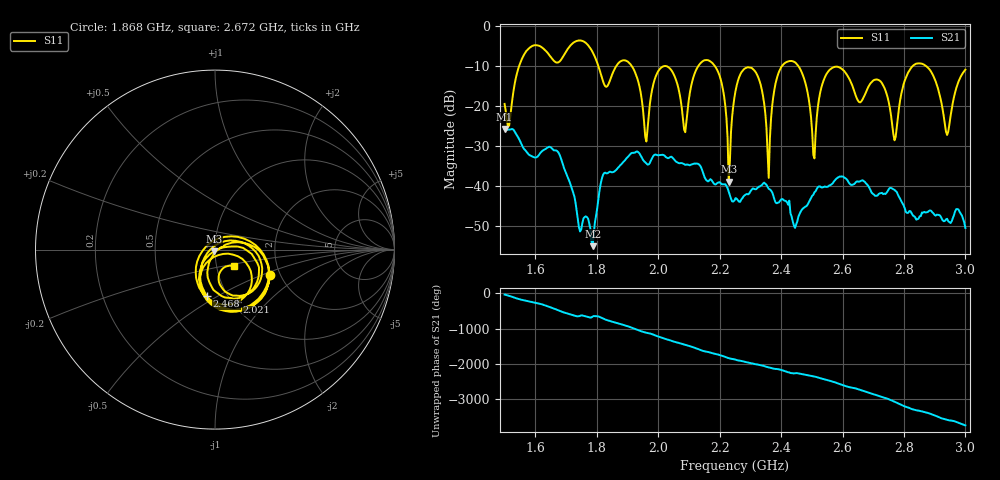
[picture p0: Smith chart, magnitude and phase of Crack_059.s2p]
# HZ S RI R 50
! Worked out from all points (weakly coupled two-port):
!   404 points, 1.5 GHz to 3 GHz, reference 50 ohm
!   highest |S21| = -25.72 dB at 1.5 GHz (marker M1); lowest = -55.0 dB at 1.787 GHz (marker M2)
!   lowest |S11| = -38.9 dB at 2.23 GHz (marker M3), VSWR 1.02, Z = 49.3 - j0.92 ohm
!   |S11| at or under -10 dB: 2.185 GHz to 2.403 GHz (217.9 MHz wide, 9.5 % of centre); 2.457 GHz to 2.828 GHz (371.4 MHz wide, 14.1 % of centre); 2.872 GHz to end of sweep (the widest 3 of 7)
!   S12 and S22 are empty: the file has one direction only
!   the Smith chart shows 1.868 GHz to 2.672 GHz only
!   S11 on the Smith chart (normalised r, x): 1.868 GHz: 1.78, -0.56; 2.021 GHz: 1.05, -0.68; 2.468 GHz: 0.80, -0.44; 2.672 GHz: 1.21, -0.23
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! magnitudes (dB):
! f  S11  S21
! 1.5 GHz  -19.4  -25.7
! 1.753 GHz  -3.7  -49.2
! 1.787 GHz  -6.5  -55.0
! 1.868 GHz  -9.4  -35.5
! 1.962 GHz  -28.8  -34.3
! 2.002 GHz  -11.0  -32.2
! 2.021 GHz  -10.0  -32.4
! 2.088 GHz  -26.5  -34.7
! 2.181 GHz  -9.6  -39.4
! 2.23 GHz  -38.9  -41.4
! 2.252 GHz  -16.1  -43.0
! 2.315 GHz  -11.3  -40.8
! 2.36 GHz  -37.9  -40.7
! 2.397 GHz  -10.8  -43.6
! 2.468 GHz  -11.6  -45.9
! 2.501 GHz  -26.4  -42.4
! 2.565 GHz  -10.5  -39.5
! 2.672 GHz  -17.2  -38.9
! 2.751 GHz  -19.0  -40.7
! 2.862 GHz  -9.5  -46.6
! 2.94 GHz  -27.2  -48.2
! 3 GHz  -10.9  -50.5
